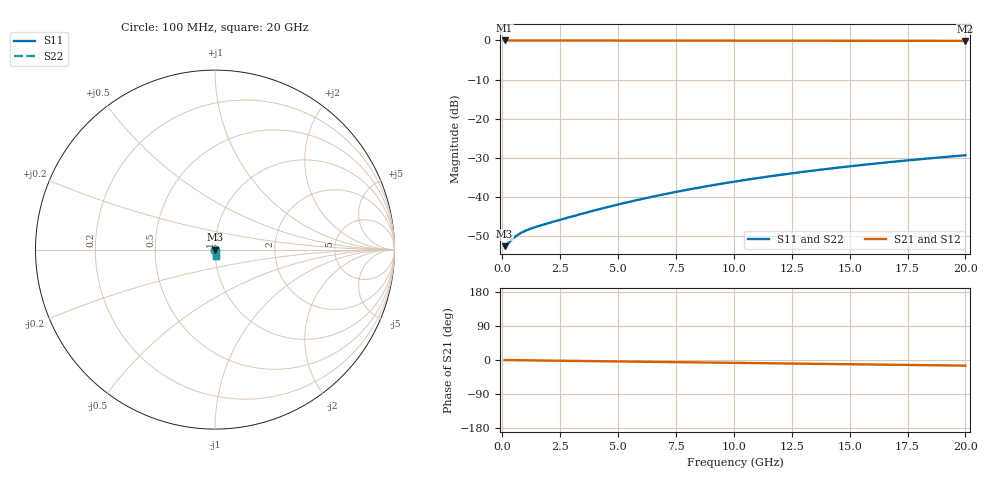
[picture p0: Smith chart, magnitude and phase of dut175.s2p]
! Touchstone file exported from HFSS 2026.1.0
!  File:  C:/ffzhzh/LocalFiles/Ansys_Project_Files/temp_train_TMRDL_175_1782983535_42984.aedt
!  Generated:  05:13:23 PM Jul  2, 2026
!  Design:  TMRDL
!  Project:  temp_train_TMRDL_175_1782983535_42984
! Variables:
!  h_bsmrdl = 2um
!  h_ox = 20um
!  h_rdl = 5um
!  h_sub = 80um
!  h_tmrdl = 2.93um
!  h_tsv = 80um
!  h_via = 3um
!  l_bsmrdl = 300um
!  l_sub = 659.39um
!  l_tmrdl = 259.39um
!  m_sub = 200um
!  pitch = 16.7um
!  r_tsv = 6um
!  s_tmrdl = 10um
!  w_bsmrdl = 18um
!  w_sub = 500um
!  w_tmrdl = 14.7um
!  x_tsv_center1 = 266.74um
!  x_tsv_center2 = 584.74um
!  x_tsv_center3 = 858.83um
!  x_tsv_center4 = 1176.83um
!  x_tsv_center5 = 1450.92um
!  x_tsv_center6 = 1768.92um
# GHz S MA R 50.000000
! Terminal data exported
! Port[1] = TM_RDL1_1_T1
! Port[2] = TM_RDL1_1_T2
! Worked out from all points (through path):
!   200 points, 100 MHz to 20 GHz, reference 50 ohm
!   highest |S21| = -0.02 dB at 100 MHz (marker M1); lowest = -0.1 dB at 20 GHz (marker M2)
!   group delay of S21, straight-line fit = 2.06 ps
!   lowest |S11| = -52.5 dB at 100 MHz (marker M3), VSWR 1.00, Z = 50.2 + j0.0165 ohm
!   |S11| at or under -10 dB: start of sweep to end of sweep
!   |S22| runs from -52.5 to -29.3 dB; largest |S21 - S12| = 1e-14
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0.1  0.002369 4.0  0.9976 -0.1  0.9976 -0.1  0.002369 4.0
! Gamma 0 0 0 0
! Port Impedance 50 0 50 0
0.2  0.002492 6.9  0.9975 -0.2  0.9975 -0.2  0.002492 6.9
0.4  0.002848 8.2  0.9972 -0.4  0.9972 -0.4  0.002848 8.2
0.5  0.00303 7.2  0.997 -0.4  0.997 -0.4  0.00303 7.2
0.6  0.0032 5.5  0.9968 -0.5  0.9968 -0.5  0.0032 5.5
0.8  0.003491 1.4  0.9965 -0.7  0.9965 -0.7  0.00349 1.4
1  0.00373 -3.0  0.9963 -0.8  0.9963 -0.8  0.003729 -3.0
1.3  0.004031 -9.3  0.996 -1.1  0.996 -1.1  0.00403 -9.3
1.7  0.004395 -16.8  0.9957 -1.4  0.9957 -1.4  0.004394 -16.8
3.5  0.006205 -39.3  0.995 -2.7  0.995 -2.7  0.006203 -39.3
4.3  0.007159 -45.5  0.9947 -3.3  0.9947 -3.3  0.007156 -45.6
5.1  0.008192 -50.4  0.9943 -3.9  0.9943 -3.9  0.008187 -50.4
5.9  0.009292 -54.3  0.994 -4.5  0.994 -4.5  0.009286 -54.3
6.8  0.0106 -57.8  0.9935 -5.2  0.9935 -5.2  0.01059 -57.8
8.4  0.01309 -62.7  0.9927 -6.4  0.9927 -6.4  0.01308 -62.8
10.1  0.01591 -66.8  0.9917 -7.7  0.9917 -7.7  0.01589 -66.9
11.7  0.0187 -70.1  0.9908 -8.8  0.9908 -8.8  0.01868 -70.2
13.4  0.02177 -73.1  0.9899 -10.1  0.9899 -10.1  0.02175 -73.2
15  0.02473 -75.7  0.989 -11.3  0.989 -11.3  0.0247 -75.9
16.7  0.02793 -78.3  0.9881 -12.5  0.9881 -12.5  0.0279 -78.4
18.3  0.03098 -80.6  0.9873 -13.6  0.9873 -13.6  0.03094 -80.7
20  0.03424 -82.8  0.9865 -14.9  0.9865 -14.9  0.0342 -83.0
